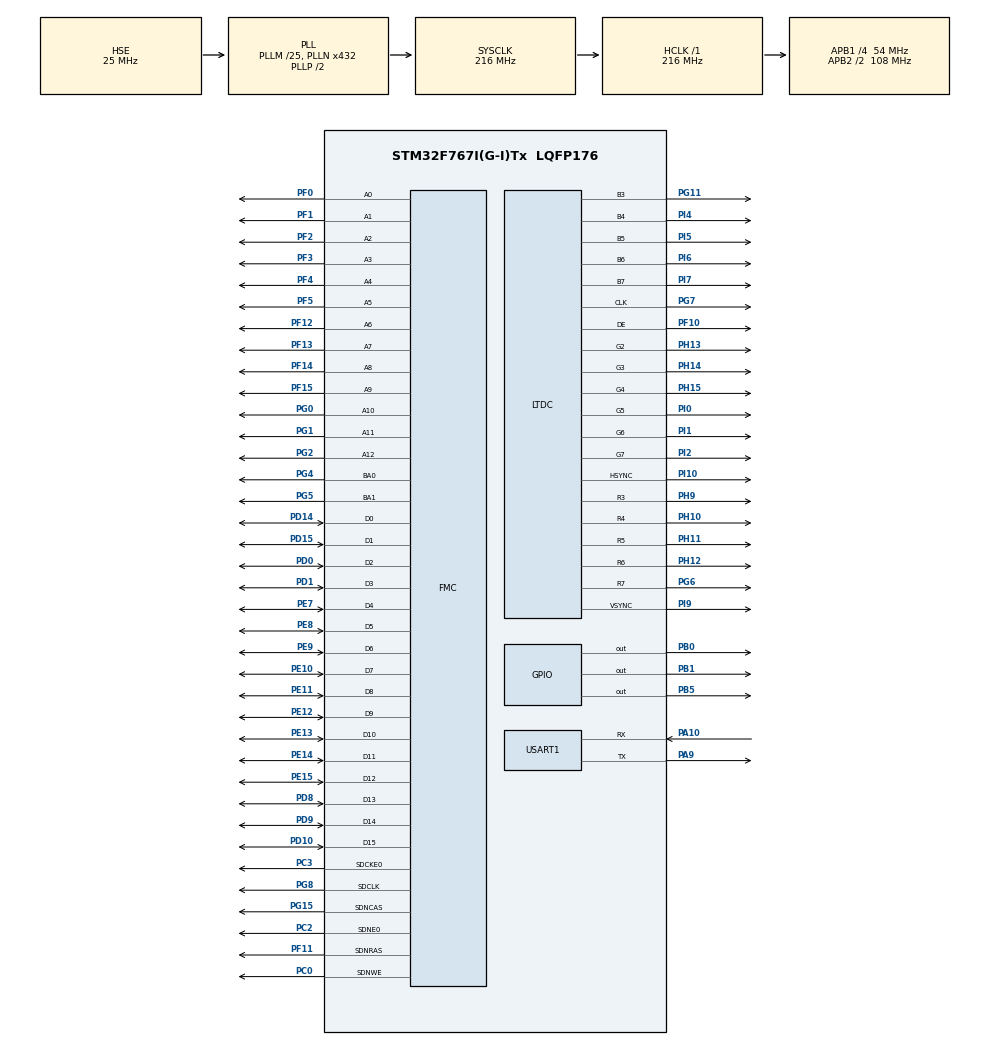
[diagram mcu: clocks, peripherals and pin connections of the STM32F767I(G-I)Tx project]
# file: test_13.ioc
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CORTEX_M7.MPU_Control=__NULL
CORTEX_M7.default_mode_Activation=1
DMA2D.ColorMode=DMA2D_OUTPUT_RGB565
FMC.CASLatency1=FMC_SDRAM_CAS_LATENCY_3
FMC.ColumnBitsNumber1=FMC_SDRAM_COLUMN_BITS_NUM_9
FMC.ExitSelfRefreshDelay1=8
FMC.LoadToActiveDelay1=2
FMC.RCDDelay1=2
FMC.RPDelay1=2
FMC.ReadBurst1=FMC_SDRAM_RBURST_ENABLE
FMC.ReadPipeDelay1=FMC_SDRAM_RPIPE_DELAY_1
FMC.RowCycleDelay1=6
FMC.SDClockPeriod1=FMC_SDRAM_CLOCK_PERIOD_2
FMC.SelfRefreshTime1=6
FMC.WriteRecoveryTime1=4
LTDC.ActiveW=800
LTDC.Alpha_L0=255
LTDC.BlendingFactor1_L0=LTDC_BLENDING_FACTOR1_PAxCA
LTDC.BlendingFactor2_L0=LTDC_BLENDING_FACTOR2_PAxCA
LTDC.FBStartAdress_L0=0xc0000000
LTDC.HBP=88
LTDC.HFP=40
LTDC.HSync=48
LTDC.ImageHeight_L0=480
LTDC.ImageWidth_L0=800
LTDC.ImageWidth_L1=0
LTDC.PixelFormat_L0=LTDC_PIXEL_FORMAT_RGB565
LTDC.PixelFormat_L1=LTDC_PIXEL_FORMAT_RGB565
LTDC.VBP=32
LTDC.VFP=13
LTDC.VSync=3
LTDC.WindowX1_L0=800
LTDC.WindowY1_L0=480
Mcu.Family=STM32F7
Mcu.Name=STM32F767I(G-I)Tx
Mcu.Package=LQFP176
NVIC.PriorityGroup=NVIC_PRIORITYGROUP_4
NVIC.USART1_IRQn=true\:0\:0\:false\:false\:true\:true\:true\:true
PA10.GPIO_PuPd=GPIO_PULLUP
PA10.GPIO_Speed=GPIO_SPEED_FREQ_HIGH
PA10.Mode=Asynchronous
PA10.Signal=USART1_RX
PA9.GPIO_ModeDefaultPP=GPIO_MODE_AF_PP
PA9.GPIO_PuPd=GPIO_PULLUP
PA9.GPIO_Speed=GPIO_SPEED_FREQ_HIGH
PA9.Mode=Asynchronous
PA9.Signal=USART1_TX
PB0.GPIO_PuPd=GPIO_PULLUP
PB0.GPIO_Speed=GPIO_SPEED_FREQ_HIGH
PB0.PinState=GPIO_PIN_SET
PB0.Signal=GPIO_Output
PB1.GPIO_PuPd=GPIO_PULLUP
PB1.GPIO_Speed=GPIO_SPEED_FREQ_HIGH
PB1.PinState=GPIO_PIN_SET
PB1.Signal=GPIO_Output
PB5.GPIO_PuPd=GPIO_PULLUP
PB5.GPIO_Speed=GPIO_SPEED_FREQ_HIGH
PB5.Signal=GPIO_Output
PC0.GPIO_Mode=GPIO_MODE_AF_PP
PC0.GPIO_PuPd=GPIO_PULLUP
PC0.GPIO_Speed_High_Default=GPIO_SPEED_FREQ_HIGH
PC0.Signal=FMC_SDNWE
PC14/OSC32_IN.Mode=LSE-External-Oscillator
PC14/OSC32_IN.Signal=RCC_OSC32_IN
PC15/OSC32_OUT.Mode=LSE-External-Oscillator
PC15/OSC32_OUT.Signal=RCC_OSC32_OUT
PC2.GPIO_Mode=GPIO_MODE_AF_PP
PC2.GPIO_PuPd=GPIO_PULLUP
PC2.GPIO_Speed_High_Default=GPIO_SPEED_FREQ_HIGH
PC2.Mode=SdramChipSelect1_1
PC2.Signal=FMC_SDNE0
PC3.GPIO_Mode=GPIO_MODE_AF_PP
PC3.GPIO_PuPd=GPIO_PULLUP
PC3.GPIO_Speed_High_Default=GPIO_SPEED_FREQ_HIGH
PC3.Mode=SdramChipSelect1_1
PC3.Signal=FMC_SDCKE0
PD0.GPIO_Mode=GPIO_MODE_AF_PP
PD0.GPIO_PuPd=GPIO_PULLUP
PD0.GPIO_Speed_High_Default=GPIO_SPEED_FREQ_HIGH
PD0.Signal=FMC_D2_DA2
PD1.GPIO_Mode=GPIO_MODE_AF_PP
PD1.GPIO_PuPd=GPIO_PULLUP
PD1.GPIO_Speed_High_Default=GPIO_SPEED_FREQ_HIGH
PD1.Signal=FMC_D3_DA3
PD10.GPIO_Mode=GPIO_MODE_AF_PP
PD10.GPIO_PuPd=GPIO_PULLUP
PD10.GPIO_Speed_High_Default=GPIO_SPEED_FREQ_HIGH
PD10.Signal=FMC_D15_DA15
PD14.GPIO_Mode=GPIO_MODE_AF_PP
PD14.GPIO_PuPd=GPIO_PULLUP
PD14.GPIO_Speed_High_Default=GPIO_SPEED_FREQ_HIGH
PD14.Signal=FMC_D0_DA0
PD15.GPIO_Mode=GPIO_MODE_AF_PP
PD15.GPIO_PuPd=GPIO_PULLUP
PD15.GPIO_Speed_High_Default=GPIO_SPEED_FREQ_HIGH
PD15.Signal=FMC_D1_DA1
PD8.GPIO_Mode=GPIO_MODE_AF_PP
PD8.GPIO_PuPd=GPIO_PULLUP
PD8.GPIO_Speed_High_Default=GPIO_SPEED_FREQ_HIGH
PD8.Signal=FMC_D13_DA13
PD9.GPIO_Mode=GPIO_MODE_AF_PP
PD9.GPIO_PuPd=GPIO_PULLUP
PD9.GPIO_Speed_High_Default=GPIO_SPEED_FREQ_HIGH
PD9.Signal=FMC_D14_DA14
PE0.GPIO_Mode=GPIO_MODE_AF_PP
PE0.GPIO_PuPd=GPIO_PULLUP
PE0.GPIO_Speed_High_Default=GPIO_SPEED_FREQ_HIGH
PE0.Signal=FMC_NBL0
PE1.GPIO_Mode=GPIO_MODE_AF_PP
PE1.GPIO_PuPd=GPIO_PULLUP
PE1.GPIO_Speed_High_Default=GPIO_SPEED_FREQ_HIGH
PE1.Signal=FMC_NBL1
PE10.GPIO_Mode=GPIO_MODE_AF_PP
PE10.GPIO_PuPd=GPIO_PULLUP
PE10.GPIO_Speed_High_Default=GPIO_SPEED_FREQ_HIGH
PE10.Signal=FMC_D7_DA7
PE11.GPIO_Mode=GPIO_MODE_AF_PP
PE11.GPIO_PuPd=GPIO_PULLUP
PE11.GPIO_Speed_High_Default=GPIO_SPEED_FREQ_HIGH
PE11.Signal=FMC_D8_DA8
PE12.GPIO_Mode=GPIO_MODE_AF_PP
PE12.GPIO_PuPd=GPIO_PULLUP
PE12.GPIO_Speed_High_Default=GPIO_SPEED_FREQ_HIGH
PE12.Signal=FMC_D9_DA9
PE13.GPIO_Mode=GPIO_MODE_AF_PP
PE13.GPIO_PuPd=GPIO_PULLUP
PE13.GPIO_Speed_High_Default=GPIO_SPEED_FREQ_HIGH
PE13.Signal=FMC_D10_DA10
PE14.GPIO_Mode=GPIO_MODE_AF_PP
PE14.GPIO_PuPd=GPIO_PULLUP
PE14.GPIO_Speed_High_Default=GPIO_SPEED_FREQ_HIGH
PE14.Signal=FMC_D11_DA11
PE15.GPIO_Mode=GPIO_MODE_AF_PP
PE15.GPIO_PuPd=GPIO_PULLUP
PE15.GPIO_Speed_High_Default=GPIO_SPEED_FREQ_HIGH
PE15.Signal=FMC_D12_DA12
PE7.GPIO_Mode=GPIO_MODE_AF_PP
PE7.GPIO_PuPd=GPIO_PULLUP
PE7.GPIO_Speed_High_Default=GPIO_SPEED_FREQ_HIGH
PE7.Signal=FMC_D4_DA4
PE8.GPIO_Mode=GPIO_MODE_AF_PP
PE8.GPIO_PuPd=GPIO_PULLUP
PE8.GPIO_Speed_High_Default=GPIO_SPEED_FREQ_HIGH
PE8.Signal=FMC_D5_DA5
PE9.GPIO_Mode=GPIO_MODE_AF_PP
PE9.GPIO_PuPd=GPIO_PULLUP
PE9.GPIO_Speed_High_Default=GPIO_SPEED_FREQ_HIGH
PE9.Signal=FMC_D6_DA6
PF0.GPIO_Mode=GPIO_MODE_AF_PP
PF0.GPIO_PuPd=GPIO_PULLUP
PF0.GPIO_Speed_High_Default=GPIO_SPEED_FREQ_HIGH
PF0.Signal=FMC_A0
PF1.GPIO_Mode=GPIO_MODE_AF_PP
PF1.GPIO_PuPd=GPIO_PULLUP
PF1.GPIO_Speed_High_Default=GPIO_SPEED_FREQ_HIGH
PF1.Signal=FMC_A1
PF10.GPIO_PuPd=GPIO_NOPULL
PF10.GPIO_Speed=GPIO_SPEED_FREQ_HIGH
PF10.Mode=RGB565
PF10.Signal=LTDC_DE
PF11.GPIO_Mode=GPIO_MODE_AF_PP
PF11.GPIO_PuPd=GPIO_PULLUP
PF11.GPIO_Speed_High_Default=GPIO_SPEED_FREQ_HIGH
PF11.Signal=FMC_SDNRAS
PF12.GPIO_Mode=GPIO_MODE_AF_PP
PF12.GPIO_PuPd=GPIO_PULLUP
PF12.GPIO_Speed_High_Default=GPIO_SPEED_FREQ_HIGH
PF12.Signal=FMC_A6
PF13.GPIO_Mode=GPIO_MODE_AF_PP
PF13.GPIO_PuPd=GPIO_PULLUP
PF13.GPIO_Speed_High_Default=GPIO_SPEED_FREQ_HIGH
PF13.Signal=FMC_A7
PF14.GPIO_Mode=GPIO_MODE_AF_PP
PF14.GPIO_PuPd=GPIO_PULLUP
PF14.GPIO_Speed_High_Default=GPIO_SPEED_FREQ_HIGH
PF14.Signal=FMC_A8
PF15.GPIO_Mode=GPIO_MODE_AF_PP
PF15.GPIO_PuPd=GPIO_PULLUP
PF15.GPIO_Speed_High_Default=GPIO_SPEED_FREQ_HIGH
PF15.Signal=FMC_A9
PF2.GPIO_Mode=GPIO_MODE_AF_PP
PF2.GPIO_PuPd=GPIO_PULLUP
PF2.GPIO_Speed_High_Default=GPIO_SPEED_FREQ_HIGH
PF2.Signal=FMC_A2
PF3.GPIO_Mode=GPIO_MODE_AF_PP
PF3.GPIO_PuPd=GPIO_PULLUP
PF3.GPIO_Speed_High_Default=GPIO_SPEED_FREQ_HIGH
PF3.Signal=FMC_A3
PF4.GPIO_Mode=GPIO_MODE_AF_PP
PF4.GPIO_PuPd=GPIO_PULLUP
PF4.GPIO_Speed_High_Default=GPIO_SPEED_FREQ_HIGH
PF4.Signal=FMC_A4
PF5.GPIO_Mode=GPIO_MODE_AF_PP
PF5.GPIO_PuPd=GPIO_PULLUP
PF5.GPIO_Speed_High_Default=GPIO_SPEED_FREQ_HIGH
PF5.Signal=FMC_A5
PG0.GPIO_Mode=GPIO_MODE_AF_PP
PG0.GPIO_PuPd=GPIO_PULLUP
PG0.GPIO_Speed_High_Default=GPIO_SPEED_FREQ_HIGH
PG0.Signal=FMC_A10
PG1.GPIO_Mode=GPIO_MODE_AF_PP
PG1.GPIO_PuPd=GPIO_PULLUP
PG1.GPIO_Speed_High_Default=GPIO_SPEED_FREQ_HIGH
PG1.Signal=FMC_A11
PG11.GPIO_Mode=GPIO_MODE_AF_PP
PG11.GPIO_PuPd=GPIO_NOPULL
PG11.GPIO_Speed=GPIO_SPEED_FREQ_HIGH
PG11.Mode=RGB565
PG11.Signal=LTDC_B3
PG15.GPIO_Mode=GPIO_MODE_AF_PP
PG15.GPIO_PuPd=GPIO_PULLUP
PG15.GPIO_Speed_High_Default=GPIO_SPEED_FREQ_HIGH
PG15.Signal=FMC_SDNCAS
PG2.GPIO_Mode=GPIO_MODE_AF_PP
PG2.GPIO_PuPd=GPIO_PULLUP
PG2.GPIO_Speed_High_Default=GPIO_SPEED_FREQ_HIGH
PG2.Signal=FMC_A12
PG4.GPIO_Mode=GPIO_MODE_AF_PP
PG4.GPIO_PuPd=GPIO_PULLUP
PG4.GPIO_Speed_High_Default=GPIO_SPEED_FREQ_HIGH
PG4.Signal=FMC_A14_BA0
PG5.GPIO_Mode=GPIO_MODE_AF_PP
PG5.GPIO_PuPd=GPIO_PULLUP
PG5.GPIO_Speed_High_Default=GPIO_SPEED_FREQ_HIGH
PG5.Signal=FMC_A15_BA1
PG6.GPIO_Mode=GPIO_MODE_AF_PP
PG6.GPIO_PuPd=GPIO_NOPULL
PG6.GPIO_Speed=GPIO_SPEED_FREQ_HIGH
PG6.Mode=RGB565
PG6.Signal=LTDC_R7
PG7.GPIO_Mode=GPIO_MODE_AF_PP
PG7.GPIO_PuPd=GPIO_NOPULL
PG7.GPIO_Speed=GPIO_SPEED_FREQ_HIGH
PG7.Mode=RGB565
PG7.Signal=LTDC_CLK
PG8.GPIO_Mode=GPIO_MODE_AF_PP
PG8.GPIO_PuPd=GPIO_PULLUP
PG8.GPIO_Speed_High_Default=GPIO_SPEED_FREQ_HIGH
PG8.Signal=FMC_SDCLK
PH0/OSC_IN.Mode=HSE-External-Oscillator
PH0/OSC_IN.Signal=RCC_OSC_IN
PH1/OSC_OUT.Mode=HSE-External-Oscillator
PH1/OSC_OUT.Signal=RCC_OSC_OUT
PH10.GPIO_Mode=GPIO_MODE_AF_PP
PH10.GPIO_PuPd=GPIO_NOPULL
PH10.GPIO_Speed=GPIO_SPEED_FREQ_HIGH
PH10.Mode=RGB565
PH10.Signal=LTDC_R4
PH11.GPIO_Mode=GPIO_MODE_AF_PP
PH11.GPIO_PuPd=GPIO_NOPULL
PH11.GPIO_Speed=GPIO_SPEED_FREQ_HIGH
PH11.Mode=RGB565
PH11.Signal=LTDC_R5
PH12.GPIO_Mode=GPIO_MODE_AF_PP
PH12.GPIO_PuPd=GPIO_NOPULL
PH12.GPIO_Speed=GPIO_SPEED_FREQ_HIGH
PH12.Mode=RGB565
PH12.Signal=LTDC_R6
PH13.GPIO_Mode=GPIO_MODE_AF_PP
PH13.GPIO_PuPd=GPIO_NOPULL
PH13.GPIO_Speed=GPIO_SPEED_FREQ_HIGH
PH13.Mode=RGB565
PH13.Signal=LTDC_G2
PH14.GPIO_Mode=GPIO_MODE_AF_PP
PH14.GPIO_PuPd=GPIO_NOPULL
PH14.GPIO_Speed=GPIO_SPEED_FREQ_HIGH
PH14.Mode=RGB565
PH14.Signal=LTDC_G3
PH15.GPIO_Mode=GPIO_MODE_AF_PP
PH15.GPIO_PuPd=GPIO_NOPULL
PH15.GPIO_Speed=GPIO_SPEED_FREQ_HIGH
PH15.Mode=RGB565
PH15.Signal=LTDC_G4
PH9.GPIO_Mode=GPIO_MODE_AF_PP
PH9.GPIO_PuPd=GPIO_NOPULL
PH9.GPIO_Speed=GPIO_SPEED_FREQ_HIGH
PH9.Mode=RGB565
PH9.Signal=LTDC_R3
PI0.GPIO_Mode=GPIO_MODE_AF_PP
PI0.GPIO_PuPd=GPIO_NOPULL
PI0.GPIO_Speed=GPIO_SPEED_FREQ_HIGH
PI0.Mode=RGB565
PI0.Signal=LTDC_G5
PI1.GPIO_Mode=GPIO_MODE_AF_PP
PI1.GPIO_PuPd=GPIO_NOPULL
PI1.GPIO_Speed=GPIO_SPEED_FREQ_HIGH
PI1.Mode=RGB565
PI1.Signal=LTDC_G6
PI10.GPIO_Mode=GPIO_MODE_AF_PP
PI10.GPIO_PuPd=GPIO_NOPULL
PI10.GPIO_Speed=GPIO_SPEED_FREQ_HIGH
PI10.Mode=RGB565
PI10.Signal=LTDC_HSYNC
PI2.GPIO_Mode=GPIO_MODE_AF_PP
PI2.GPIO_PuPd=GPIO_NOPULL
PI2.GPIO_Speed=GPIO_SPEED_FREQ_HIGH
PI2.Mode=RGB565
PI2.Signal=LTDC_G7
PI4.GPIO_Mode=GPIO_MODE_AF_PP
PI4.GPIO_PuPd=GPIO_NOPULL
PI4.GPIO_Speed=GPIO_SPEED_FREQ_HIGH
PI4.Mode=RGB565
PI4.Signal=LTDC_B4
PI5.GPIO_Mode=GPIO_MODE_AF_PP
PI5.GPIO_PuPd=GPIO_NOPULL
PI5.GPIO_Speed=GPIO_SPEED_FREQ_HIGH
PI5.Mode=RGB565
PI5.Signal=LTDC_B5
PI6.GPIO_Mode=GPIO_MODE_AF_PP
PI6.GPIO_PuPd=GPIO_NOPULL
PI6.GPIO_Speed=GPIO_SPEED_FREQ_HIGH
PI6.Mode=RGB565
PI6.Signal=LTDC_B6
PI7.GPIO_Mode=GPIO_MODE_AF_PP
PI7.GPIO_PuPd=GPIO_NOPULL
PI7.GPIO_Speed=GPIO_SPEED_FREQ_HIGH
PI7.Mode=RGB565
PI7.Signal=LTDC_B7
PI9.GPIO_Mode=GPIO_MODE_AF_PP
PI9.GPIO_PuPd=GPIO_NOPULL
PI9.GPIO_Speed=GPIO_SPEED_FREQ_HIGH
PI9.Mode=RGB565
PI9.Signal=LTDC_VSYNC
ProjectManager.HeapSize=0x200
ProjectManager.StackSize=0x400
ProjectManager.TargetToolchain=MDK-ARM V5.32
RCC.AHBFreq_Value=216000000
RCC.APB1CLKDivider=RCC_HCLK_DIV4
RCC.APB1Freq_Value=54000000
RCC.APB1TimFreq_Value=108000000
RCC.APB2CLKDivider=RCC_HCLK_DIV2
RCC.APB2Freq_Value=108000000
RCC.APB2TimFreq_Value=216000000
RCC.CortexFreq_Value=216000000
RCC.HCLKFreq_Value=216000000
RCC.HSE_VALUE=25000000
RCC.HSI_VALUE=16000000
RCC.PLLM=25
RCC.PLLN=432
RCC.PLLSAIN=396
RCC.PLLSAIR=3
RCC.PLLSAIRDiv=RCC_PLLSAIDIVR_4
RCC.PLLSourceVirtual=RCC_PLLSOURCE_HSE
RCC.SYSCLKFreq_VALUE=216000000
RCC.SYSCLKSource=RCC_SYSCLKSOURCE_PLLCLK
RCC.USBFreq_Value=216000000
RCC.VCOOutputFreq_Value=432000000
SH.FMC_A0.0=FMC_A0,13b-sda1
SH.FMC_A1.0=FMC_A1,13b-sda1
SH.FMC_A10.0=FMC_A10,13b-sda1
SH.FMC_A11.0=FMC_A11,13b-sda1
SH.FMC_A12.0=FMC_A12,13b-sda1
SH.FMC_A14_BA0.0=FMC_BA0,FourSdramBanks1
SH.FMC_A15_BA1.0=FMC_BA1,FourSdramBanks1
SH.FMC_A2.0=FMC_A2,13b-sda1
SH.FMC_A3.0=FMC_A3,13b-sda1
SH.FMC_A4.0=FMC_A4,13b-sda1
SH.FMC_A5.0=FMC_A5,13b-sda1
SH.FMC_A6.0=FMC_A6,13b-sda1
SH.FMC_A7.0=FMC_A7,13b-sda1
SH.FMC_A8.0=FMC_A8,13b-sda1
SH.FMC_A9.0=FMC_A9,13b-sda1
SH.FMC_D0_DA0.0=FMC_D0,sd-16b-d1
SH.FMC_D10_DA10.0=FMC_D10,sd-16b-d1
SH.FMC_D11_DA11.0=FMC_D11,sd-16b-d1
SH.FMC_D12_DA12.0=FMC_D12,sd-16b-d1
SH.FMC_D13_DA13.0=FMC_D13,sd-16b-d1
SH.FMC_D14_DA14.0=FMC_D14,sd-16b-d1
SH.FMC_D15_DA15.0=FMC_D15,sd-16b-d1
SH.FMC_D1_DA1.0=FMC_D1,sd-16b-d1
SH.FMC_D2_DA2.0=FMC_D2,sd-16b-d1
SH.FMC_D3_DA3.0=FMC_D3,sd-16b-d1
SH.FMC_D4_DA4.0=FMC_D4,sd-16b-d1
SH.FMC_D5_DA5.0=FMC_D5,sd-16b-d1
SH.FMC_D6_DA6.0=FMC_D6,sd-16b-d1
SH.FMC_D7_DA7.0=FMC_D7,sd-16b-d1
SH.FMC_D8_DA8.0=FMC_D8,sd-16b-d1
SH.FMC_D9_DA9.0=FMC_D9,sd-16b-d1
SH.FMC_NBL0.0=FMC_NBL0
SH.FMC_NBL1.0=FMC_NBL1
SH.FMC_SDCLK.0=FMC_SDCLK,13b-sda1
SH.FMC_SDNCAS.0=FMC_SDNCAS,13b-sda1
SH.FMC_SDNRAS.0=FMC_SDNRAS,13b-sda1
SH.FMC_SDNWE.0=FMC_SDNWE,13b-sda1
USART1.VirtualMode-Asynchronous=VM_ASYNC
VP_DMA2D_VS_DMA2D.Mode=DMA2D_Activate
board=custom

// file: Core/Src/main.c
/* USER CODE BEGIN Header */
/**
  ******************************************************************************
  * @file           : main.c
  * @brief          : Main program body
  ******************************************************************************
  * @attention
  *
  * Copyright (c) 2022 STMicroelectronics.
  * All rights reserved.
  *
  * This software is licensed under terms that can be found in the LICENSE file
  * in the root directory of this software component.
  * If no LICENSE file comes with this software, it is provided AS-IS.
  *
  ******************************************************************************
  */
/* USER CODE END Header */
#include "main.h"
#include "dma2d.h"
#include "ltdc.h"
#include "usart.h"
#include "gpio.h"
#include "fmc.h"

/* USER CODE BEGIN Includes */
#include "stdio.h"
#include "lcd.h"
/* USER CODE END Includes */

void SystemClock_Config(void);

/* USER CODE BEGIN 0 */
void LTDC_Test(void);

//加入以下代码,支持printf函数,而不需要选择use MicroLIB
#if 1
#pragma import(__use_no_semihosting)
//解决HAL库使用时,某些情况可能报错的bug
int _ttywrch(int ch)
{
    ch=ch;
	return ch;
}
//标准库需要的支持函数
struct __FILE
{
	int handle;
	/* Whatever you require here. If the only file you are using is */
	/* standard output using printf() for debugging, no file handling */
	/* is required. */
};
/* FILE is typedef’ d in stdio.h. */
FILE __stdout;
//定义_sys_exit()以避免使用半主机模式
void _sys_exit(int x)
{
	x = x;
}
//重定义fputc函数
int fputc(int ch, FILE *f)
{
	while((USART1->ISR&0X40)==0);//循环发送,直到发送完毕
	USART1->TDR = (uint8_t) ch;
	return ch;
}
#endif
/* USER CODE END 0 */

int main(void)
{

  /* MCU Configuration--------------------------------------------------------*/

  /* Reset of all peripherals, Initializes the Flash interface and the Systick. */
  HAL_Init();

  /* Configure the system clock */
  SystemClock_Config();

  /* Initialize all configured peripherals */
  MX_GPIO_Init();
  MX_DMA2D_Init();
  MX_FMC_Init();
  MX_LTDC_Init();
  MX_USART1_UART_Init();
  /* USER CODE BEGIN 2 */
	MX_FMC_Init();
	SDRAM_Initialization_Sequence(&hsdram1);//发送SDRAM初始化序列
	MX_LTDC_Init();
	LCD_Init();
	printf("初始化完毕");
  /* USER CODE END 2 */

  /* Infinite loop */
  /* USER CODE BEGIN WHILE */
  while (1)
  {
	  LTDC_Test();
    /* USER CODE END WHILE */

  }
}

void SystemClock_Config(void)
{
  RCC_OscInitTypeDef RCC_OscInitStruct = {0};
  RCC_ClkInitTypeDef RCC_ClkInitStruct = {0};

  /** Configure LSE Drive Capability
  */
  HAL_PWR_EnableBkUpAccess();

  /** Configure the main internal regulator output voltage
  */
  __HAL_RCC_PWR_CLK_ENABLE();
  __HAL_PWR_VOLTAGESCALING_CONFIG(PWR_REGULATOR_VOLTAGE_SCALE1);

  /** Initializes the RCC Oscillators according to the specified parameters
  * in the RCC_OscInitTypeDef structure.
  */
  RCC_OscInitStruct.OscillatorType = RCC_OSCILLATORTYPE_HSE;
  RCC_OscInitStruct.HSEState = RCC_HSE_ON;
  RCC_OscInitStruct.PLL.PLLState = RCC_PLL_ON;
  RCC_OscInitStruct.PLL.PLLSource = RCC_PLLSOURCE_HSE;
  RCC_OscInitStruct.PLL.PLLM = 25;
  RCC_OscInitStruct.PLL.PLLN = 432;
  RCC_OscInitStruct.PLL.PLLP = RCC_PLLP_DIV2;
  RCC_OscInitStruct.PLL.PLLQ = 2;
  RCC_OscInitStruct.PLL.PLLR = 2;
  if (HAL_RCC_OscConfig(&RCC_OscInitStruct) != HAL_OK)
  {
    Error_Handler();
  }

  /** Activate the Over-Drive mode
  */
  if (HAL_PWREx_EnableOverDrive() != HAL_OK)
  {
    Error_Handler();
  }

  /** Initializes the CPU, AHB and APB buses clocks
  */
  RCC_ClkInitStruct.ClockType = RCC_CLOCKTYPE_HCLK|RCC_CLOCKTYPE_SYSCLK
                              |RCC_CLOCKTYPE_PCLK1|RCC_CLOCKTYPE_PCLK2;
  RCC_ClkInitStruct.SYSCLKSource = RCC_SYSCLKSOURCE_PLLCLK;
  RCC_ClkInitStruct.AHBCLKDivider = RCC_SYSCLK_DIV1;
  RCC_ClkInitStruct.APB1CLKDivider = RCC_HCLK_DIV4;
  RCC_ClkInitStruct.APB2CLKDivider = RCC_HCLK_DIV2;

  if (HAL_RCC_ClockConfig(&RCC_ClkInitStruct, FLASH_LATENCY_7) != HAL_OK)
  {
    Error_Handler();
  }
}

/* USER CODE BEGIN 4 */
void LTDC_Test(void)
{
	static uint32_t i = 0;
	HAL_GPIO_TogglePin(LED0_GPIO_Port,LED0_Pin);
	HAL_Delay(1000);
	switch(i)
	{
		case 0:LTDC_Clear(WHITE);break;
		case 1:LTDC_Clear(BLACK);break;
		case 2:LTDC_Clear(BLUE);break;
		case 3:LTDC_Clear(RED);break;
		case 4:LTDC_Clear(MAGENTA);break;
		case 5:LTDC_Clear(GREEN);break;
		case 6:LTDC_Clear(CYAN);break;
		case 7:LTDC_Clear(YELLOW);break;
		case 8:LTDC_Clear(BRRED);break;
		case 9:LTDC_Clear(GRAY);break;
		case 10:LTDC_Clear(LGRAY);break;
		case 11:LTDC_Clear(BROWN);break;
	}
	i++;
	if(i == 12)
		i=0;

	POINT_COLOR=RED;
	LCD_ShowString(10,40,260,32,32,	(uint8_t*)"Apollo STM32F4/F7");
	LCD_ShowString(10,80,240,24,24,	(uint8_t*)"LTDC TEST");
	LCD_ShowString(10,110,240,16,16,	(uint8_t*)"ATOM@ALIENTEK");
	LCD_ShowString(10,130,240,16,16,	(uint8_t*)"800*480");		//显示LCD ID
	LCD_ShowString(10,150,240,12,12,	(uint8_t*)"2022/8/1");
}
/* USER CODE END 4 */

void Error_Handler(void)
{
  __disable_irq();
  while (1)
  {
  }
}
